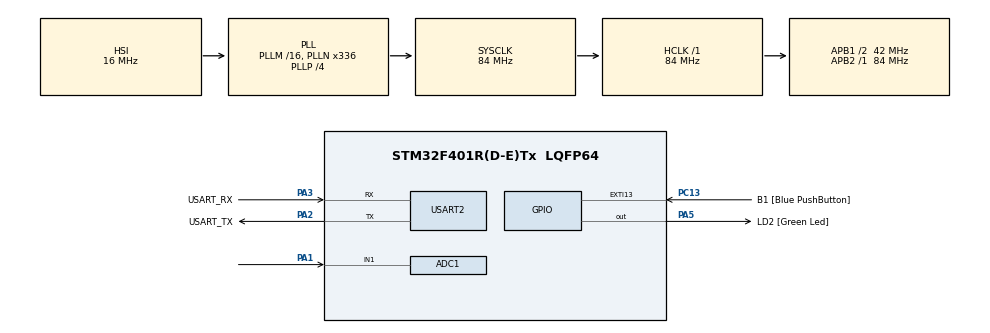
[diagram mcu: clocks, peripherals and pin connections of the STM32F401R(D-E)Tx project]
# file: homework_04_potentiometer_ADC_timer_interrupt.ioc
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ADC1.Channel-0\#ChannelRegularConversion=ADC_CHANNEL_1
ADC1.ExternalTrigConv=ADC_EXTERNALTRIGCONV_T3_TRGO
ADC1.NbrOfConversion=1
ADC1.NbrOfConversionFlag=1
ADC1.Rank-0\#ChannelRegularConversion=1
ADC1.SamplingTime-0\#ChannelRegularConversion=ADC_SAMPLETIME_480CYCLES
ADC1.master=1
Mcu.Family=STM32F4
Mcu.Name=STM32F401R(D-E)Tx
Mcu.Package=LQFP64
NVIC.ADC_IRQn=true\:0\:0\:false\:false\:true\:true\:true\:true
NVIC.PriorityGroup=NVIC_PRIORITYGROUP_0
PA1.Signal=SharedAnalog_PA1
PA13.GPIO_Label=TMS
PA13.Mode=Serial_Wire
PA13.Signal=SYS_JTMS-SWDIO
PA14.GPIO_Label=TCK
PA14.Mode=Serial_Wire
PA14.Signal=SYS_JTCK-SWCLK
PA2.GPIO_Label=USART_TX
PA2.GPIO_Mode=GPIO_MODE_AF_PP
PA2.GPIO_PuPd=GPIO_NOPULL
PA2.GPIO_Speed=GPIO_SPEED_FREQ_LOW
PA2.Mode=Asynchronous
PA2.Signal=USART2_TX
PA3.GPIO_Label=USART_RX
PA3.GPIO_Mode=GPIO_MODE_AF_PP
PA3.GPIO_PuPd=GPIO_NOPULL
PA3.GPIO_Speed=GPIO_SPEED_FREQ_LOW
PA3.Mode=Asynchronous
PA3.Signal=USART2_RX
PA5.GPIO_Label=LD2 [Green Led]
PA5.GPIO_Mode=GPIO_MODE_OUTPUT_PP
PA5.GPIO_PuPd=GPIO_NOPULL
PA5.GPIO_Speed=GPIO_SPEED_FREQ_LOW
PA5.Signal=GPIO_Output
PB3.GPIO_Label=SWO
PB3.Signal=SYS_JTDO-SWO
PC13-ANTI_TAMP.GPIO_Label=B1 [Blue PushButton]
PC13-ANTI_TAMP.GPIO_ModeDefaultEXTI=GPIO_MODE_IT_FALLING
PC13-ANTI_TAMP.GPIO_PuPd=GPIO_NOPULL
PC13-ANTI_TAMP.Signal=GPXTI13
PC14-OSC32_IN.Mode=LSE-External-Oscillator
PC14-OSC32_IN.Signal=RCC_OSC32_IN
PC15-OSC32_OUT.Mode=LSE-External-Oscillator
PC15-OSC32_OUT.Signal=RCC_OSC32_OUT
PH0\ -\ OSC_IN.Mode=HSE-External-Clock-Source
PH0\ -\ OSC_IN.Signal=RCC_OSC_IN
PH1\ -\ OSC_OUT.Mode=HSE-External-Clock-Source
PH1\ -\ OSC_OUT.Signal=RCC_OSC_OUT
ProjectManager.HeapSize=0x200
ProjectManager.StackSize=0x400
ProjectManager.TargetToolchain=STM32CubeIDE
RCC.48MHZClocksFreq_Value=48000000
RCC.AHBFreq_Value=84000000
RCC.APB1CLKDivider=RCC_HCLK_DIV2
RCC.APB1Freq_Value=42000000
RCC.APB1TimFreq_Value=84000000
RCC.APB2Freq_Value=84000000
RCC.APB2TimFreq_Value=84000000
RCC.CortexFreq_Value=84000000
RCC.HCLKFreq_Value=84000000
RCC.HSE_VALUE=8000000
RCC.HSI_VALUE=16000000
RCC.PLLN=336
RCC.PLLP=RCC_PLLP_DIV4
RCC.PLLQ=7
RCC.SYSCLKFreq_VALUE=84000000
RCC.SYSCLKSource=RCC_SYSCLKSOURCE_PLLCLK
RCC.VCOOutputFreq_Value=336000000
SH.SharedAnalog_PA1.0=GPIO_Analog
SH.SharedAnalog_PA1.1=ADC1_IN1,IN1
TIM3.Period=10000-1
TIM3.Prescaler=8400-1
TIM3.TIM_MasterOutputTrigger=TIM_TRGO_UPDATE
USART2.VirtualMode=VM_ASYNC
VP_TIM3_VS_ClockSourceINT.Mode=Internal
board=NUCLEO-F401RE

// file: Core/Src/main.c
/* USER CODE BEGIN Header */
/**
  ******************************************************************************
  * @file           : main.c
  * @brief          : Main program body
  ******************************************************************************
  * @attention
  *
  * Copyright (c) 2023 STMicroelectronics.
  * All rights reserved.
  *
  * This software is licensed under terms that can be found in the LICENSE file
  * in the root directory of this software component.
  * If no LICENSE file comes with this software, it is provided AS-IS.
  *
  ******************************************************************************
  */
/* USER CODE END Header */
#include "main.h"

/* USER CODE BEGIN Includes */
#include "stdlib.h"
#include "stdio.h"
/* USER CODE END Includes */

ADC_HandleTypeDef hadc1;

TIM_HandleTypeDef htim3;

UART_HandleTypeDef huart2;

/* USER CODE BEGIN PV */
int conversion_value;
float voltage;
unsigned char message[20];
int length;
/* USER CODE END PV */

void SystemClock_Config(void);
static void MX_GPIO_Init(void);
static void MX_USART2_UART_Init(void);
static void MX_ADC1_Init(void);
static void MX_TIM3_Init(void);
/* USER CODE BEGIN PFP */

// ADC callback
void HAL_ADC_ConvCpltCallback(ADC_HandleTypeDef* hadc);

/* USER CODE END PFP */

int main(void)
{

  /* MCU Configuration--------------------------------------------------------*/

  /* Reset of all peripherals, Initializes the Flash interface and the Systick. */
  HAL_Init();

  /* Configure the system clock */
  SystemClock_Config();

  /* Initialize all configured peripherals */
  MX_GPIO_Init();
  MX_USART2_UART_Init();
  MX_ADC1_Init();
  MX_TIM3_Init();
  /* USER CODE BEGIN 2 */
  HAL_ADC_Start_IT(&hadc1);
  HAL_TIM_Base_Start_IT(&htim3);
  /* USER CODE END 2 */

  /* Infinite loop */
  while (1)
  {

  }
}

void SystemClock_Config(void)
{
  RCC_OscInitTypeDef RCC_OscInitStruct = {0};
  RCC_ClkInitTypeDef RCC_ClkInitStruct = {0};

  /** Configure the main internal regulator output voltage
  */
  __HAL_RCC_PWR_CLK_ENABLE();
  __HAL_PWR_VOLTAGESCALING_CONFIG(PWR_REGULATOR_VOLTAGE_SCALE2);

  /** Initializes the RCC Oscillators according to the specified parameters
  * in the RCC_OscInitTypeDef structure.
  */
  RCC_OscInitStruct.OscillatorType = RCC_OSCILLATORTYPE_HSI;
  RCC_OscInitStruct.HSIState = RCC_HSI_ON;
  RCC_OscInitStruct.HSICalibrationValue = RCC_HSICALIBRATION_DEFAULT;
  RCC_OscInitStruct.PLL.PLLState = RCC_PLL_ON;
  RCC_OscInitStruct.PLL.PLLSource = RCC_PLLSOURCE_HSI;
  RCC_OscInitStruct.PLL.PLLM = 16;
  RCC_OscInitStruct.PLL.PLLN = 336;
  RCC_OscInitStruct.PLL.PLLP = RCC_PLLP_DIV4;
  RCC_OscInitStruct.PLL.PLLQ = 7;
  if (HAL_RCC_OscConfig(&RCC_OscInitStruct) != HAL_OK)
  {
    Error_Handler();
  }

  /** Initializes the CPU, AHB and APB buses clocks
  */
  RCC_ClkInitStruct.ClockType = RCC_CLOCKTYPE_HCLK|RCC_CLOCKTYPE_SYSCLK
                              |RCC_CLOCKTYPE_PCLK1|RCC_CLOCKTYPE_PCLK2;
  RCC_ClkInitStruct.SYSCLKSource = RCC_SYSCLKSOURCE_PLLCLK;
  RCC_ClkInitStruct.AHBCLKDivider = RCC_SYSCLK_DIV1;
  RCC_ClkInitStruct.APB1CLKDivider = RCC_HCLK_DIV2;
  RCC_ClkInitStruct.APB2CLKDivider = RCC_HCLK_DIV1;

  if (HAL_RCC_ClockConfig(&RCC_ClkInitStruct, FLASH_LATENCY_2) != HAL_OK)
  {
    Error_Handler();
  }
}

static void MX_ADC1_Init(void)
{

  ADC_ChannelConfTypeDef sConfig = {0};

  /** Configure the global features of the ADC (Clock, Resolution, Data Alignment and number of conversion)
  */
  hadc1.Instance = ADC1;
  hadc1.Init.ClockPrescaler = ADC_CLOCK_SYNC_PCLK_DIV4;
  hadc1.Init.Resolution = ADC_RESOLUTION_12B;
  hadc1.Init.ScanConvMode = DISABLE;
  hadc1.Init.ContinuousConvMode = DISABLE;
  hadc1.Init.DiscontinuousConvMode = DISABLE;
  hadc1.Init.ExternalTrigConvEdge = ADC_EXTERNALTRIGCONVEDGE_RISING;
  hadc1.Init.ExternalTrigConv = ADC_EXTERNALTRIGCONV_T3_TRGO;
  hadc1.Init.DataAlign = ADC_DATAALIGN_RIGHT;
  hadc1.Init.NbrOfConversion = 1;
  hadc1.Init.DMAContinuousRequests = DISABLE;
  hadc1.Init.EOCSelection = ADC_EOC_SINGLE_CONV;
  if (HAL_ADC_Init(&hadc1) != HAL_OK)
  {
    Error_Handler();
  }

  /** Configure for the selected ADC regular channel its corresponding rank in the sequencer and its sample time.
  */
  sConfig.Channel = ADC_CHANNEL_1;
  sConfig.Rank = 1;
  sConfig.SamplingTime = ADC_SAMPLETIME_480CYCLES;
  if (HAL_ADC_ConfigChannel(&hadc1, &sConfig) != HAL_OK)
  {
    Error_Handler();
  }

}

static void MX_TIM3_Init(void)
{

  TIM_ClockConfigTypeDef sClockSourceConfig = {0};
  TIM_MasterConfigTypeDef sMasterConfig = {0};

  htim3.Instance = TIM3;
  htim3.Init.Prescaler = 8400-1;
  htim3.Init.CounterMode = TIM_COUNTERMODE_UP;
  htim3.Init.Period = 10000-1;
  htim3.Init.ClockDivision = TIM_CLOCKDIVISION_DIV1;
  htim3.Init.AutoReloadPreload = TIM_AUTORELOAD_PRELOAD_DISABLE;
  if (HAL_TIM_Base_Init(&htim3) != HAL_OK)
  {
    Error_Handler();
  }
  sClockSourceConfig.ClockSource = TIM_CLOCKSOURCE_INTERNAL;
  if (HAL_TIM_ConfigClockSource(&htim3, &sClockSourceConfig) != HAL_OK)
  {
    Error_Handler();
  }
  sMasterConfig.MasterOutputTrigger = TIM_TRGO_UPDATE;
  sMasterConfig.MasterSlaveMode = TIM_MASTERSLAVEMODE_DISABLE;
  if (HAL_TIMEx_MasterConfigSynchronization(&htim3, &sMasterConfig) != HAL_OK)
  {
    Error_Handler();
  }

}

static void MX_USART2_UART_Init(void)
{

  huart2.Instance = USART2;
  huart2.Init.BaudRate = 115200;
  huart2.Init.WordLength = UART_WORDLENGTH_8B;
  huart2.Init.StopBits = UART_STOPBITS_1;
  huart2.Init.Parity = UART_PARITY_NONE;
  huart2.Init.Mode = UART_MODE_TX_RX;
  huart2.Init.HwFlowCtl = UART_HWCONTROL_NONE;
  huart2.Init.OverSampling = UART_OVERSAMPLING_16;
  if (HAL_UART_Init(&huart2) != HAL_OK)
  {
    Error_Handler();
  }

}

static void MX_GPIO_Init(void)
{
  GPIO_InitTypeDef GPIO_InitStruct = {0};

  /* GPIO Ports Clock Enable */
  __HAL_RCC_GPIOC_CLK_ENABLE();
  __HAL_RCC_GPIOH_CLK_ENABLE();
  __HAL_RCC_GPIOA_CLK_ENABLE();
  __HAL_RCC_GPIOB_CLK_ENABLE();

  /*Configure GPIO pin Output Level */
  HAL_GPIO_WritePin(LD2_GPIO_Port, LD2_Pin, GPIO_PIN_RESET);

  /*Configure GPIO pin : B1_Pin */
  GPIO_InitStruct.Pin = B1_Pin;
  GPIO_InitStruct.Mode = GPIO_MODE_IT_FALLING;
  GPIO_InitStruct.Pull = GPIO_NOPULL;
  HAL_GPIO_Init(B1_GPIO_Port, &GPIO_InitStruct);

  /*Configure GPIO pin : LD2_Pin */
  GPIO_InitStruct.Pin = LD2_Pin;
  GPIO_InitStruct.Mode = GPIO_MODE_OUTPUT_PP;
  GPIO_InitStruct.Pull = GPIO_NOPULL;
  GPIO_InitStruct.Speed = GPIO_SPEED_FREQ_LOW;
  HAL_GPIO_Init(LD2_GPIO_Port, &GPIO_InitStruct);

}

/* USER CODE BEGIN 4 */

void HAL_ADC_ConvCpltCallback(ADC_HandleTypeDef* hadc) {
	if(hadc != &hadc1) return;

	conversion_value = HAL_ADC_GetValue(&hadc1);
    voltage =  conversion_value * 3.3 / 4096.0;
    length = snprintf(message, 20, "Voltage: %.3f\r\n", voltage);
    HAL_UART_Transmit(&huart2, message, length, 100);
}
/* USER CODE END 4 */

void Error_Handler(void)
{
  __disable_irq();
  while (1)
  {
  }
}
